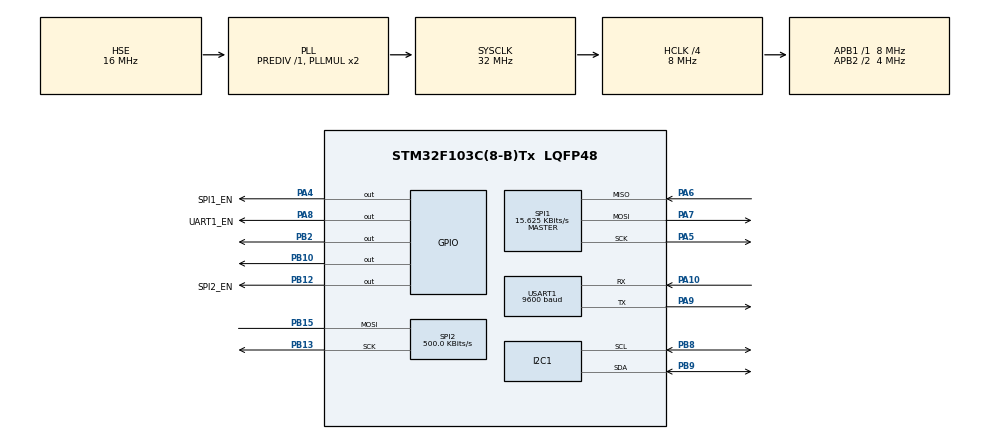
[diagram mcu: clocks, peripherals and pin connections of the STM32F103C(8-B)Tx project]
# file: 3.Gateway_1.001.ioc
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Mcu.Family=STM32F1
Mcu.Name=STM32F103C(8-B)Tx
Mcu.Package=LQFP48
NVIC.PriorityGroup=NVIC_PRIORITYGROUP_4
NVIC.SPI1_IRQn=true\:0\:0\:false\:false\:true\:true\:true\:true
NVIC.SPI2_IRQn=true\:0\:0\:false\:false\:true\:true\:true\:true
NVIC.USART1_IRQn=true\:0\:0\:false\:false\:true\:true\:true\:true
PA10.Mode=Asynchronous
PA10.Signal=USART1_RX
PA13.Mode=Serial_Wire
PA13.Signal=SYS_JTMS-SWDIO
PA14.Mode=Serial_Wire
PA14.Signal=SYS_JTCK-SWCLK
PA4.GPIO_Label=SPI1_EN
PA4.Signal=GPIO_Output
PA5.Mode=Full_Duplex_Master
PA5.Signal=SPI1_SCK
PA6.Mode=Full_Duplex_Master
PA6.Signal=SPI1_MISO
PA7.GPIO_Speed=GPIO_SPEED_FREQ_LOW
PA7.Mode=Full_Duplex_Master
PA7.Signal=SPI1_MOSI
PA8.GPIO_Label=UART1_EN
PA8.Signal=GPIO_Output
PA9.Mode=Asynchronous
PA9.Signal=USART1_TX
PB10.Signal=GPIO_Output
PB12.GPIO_Label=SPI2_EN
PB12.Signal=GPIO_Output
PB13.Mode=Simplex_Bidirectional_Master
PB13.Signal=SPI2_SCK
PB15.Mode=Simplex_Bidirectional_Master
PB15.Signal=SPI2_MOSI
PB2.Signal=GPIO_Output
PB8.Mode=I2C
PB8.Signal=I2C1_SCL
PB9.Mode=I2C
PB9.Signal=I2C1_SDA
PD0-OSC_IN.Mode=HSE-External-Oscillator
PD0-OSC_IN.Signal=RCC_OSC_IN
PD1-OSC_OUT.Mode=HSE-External-Oscillator
PD1-OSC_OUT.Signal=RCC_OSC_OUT
ProjectManager.HeapSize=0x200
ProjectManager.StackSize=0x400
ProjectManager.TargetToolchain=STM32CubeIDE
RCC.AHBCLKDivider=RCC_SYSCLK_DIV4
RCC.AHBFreq_Value=8000000
RCC.APB1Freq_Value=8000000
RCC.APB1TimFreq_Value=8000000
RCC.APB2CLKDivider=RCC_HCLK_DIV2
RCC.APB2Freq_Value=4000000
RCC.APB2TimFreq_Value=8000000
RCC.HCLKFreq_Value=8000000
RCC.HSE_VALUE=16000000
RCC.PLLSourceVirtual=RCC_PLLSOURCE_HSE
RCC.SYSCLKFreq_VALUE=32000000
RCC.SYSCLKSource=RCC_SYSCLKSOURCE_PLLCLK
RCC.USBFreq_Value=32000000
SPI1.BaudRatePrescaler=SPI_BAUDRATEPRESCALER_256
SPI1.CLKPhase=SPI_PHASE_1EDGE
SPI1.CLKPolarity=SPI_POLARITY_LOW
SPI1.CalculateBaudRate=15.625 KBits/s
SPI1.Direction=SPI_DIRECTION_2LINES
SPI1.FirstBit=SPI_FIRSTBIT_MSB
SPI1.Mode=SPI_MODE_MASTER
SPI1.VirtualType=VM_MASTER
SPI2.BaudRatePrescaler=SPI_BAUDRATEPRESCALER_16
SPI2.CLKPhase=SPI_PHASE_2EDGE
SPI2.CalculateBaudRate=500.0 KBits/s
SPI2.Direction=SPI_DIRECTION_1LINE
SPI2.Mode=SPI_MODE_MASTER
SPI2.VirtualType=VM_MASTER
USART1.BaudRate=9600
USART1.VirtualMode=VM_ASYNC
VP_IWDG_VS_IWDG.Mode=IWDG_Activate
board=custom

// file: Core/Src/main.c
/* USER CODE BEGIN Header */
/**
 ******************************************************************************
 * @file           : main.c
 * @brief          : Main program body
 ******************************************************************************
 * @attention
 *
 * Copyright (c) 2026 STMicroelectronics.
 * All rights reserved.
 *
 * This software is licensed under terms that can be found in the LICENSE file
 * in the root directory of this software component.
 * If no LICENSE file comes with this software, it is provided AS-IS.
 *
 ******************************************************************************
 */
/* USER CODE END Header */
#include "main.h"

/* USER CODE BEGIN Includes */
#include "Apli_MultiReadADC.h"
#include "Apli_RS485.h"
#include "Apli_Epprom.h"
#include "Apli_OutputChange10VDC.h"
/* USER CODE END Includes */

/* USER CODE BEGIN PTD */
typedef struct
{
  uint32_t Tick;
  uint32_t Period;
} LoopTask_t;
/* USER CODE END PTD */

/* USER CODE BEGIN PM */
#define USE_MODBUS
#define USE_READADC
#define USE_EPPROM
#define USE_OUTPUTCHANGE10VDC

/* USER CODE END PM */

I2C_HandleTypeDef hi2c1;

IWDG_HandleTypeDef hiwdg;

SPI_HandleTypeDef hspi1;
SPI_HandleTypeDef hspi2;

UART_HandleTypeDef huart1;

void SystemClock_Config(void);
static void MX_GPIO_Init(void);
static void MX_SPI1_Init(void);
static void MX_I2C1_Init(void);
static void MX_IWDG_Init(void);
static void MX_USART1_UART_Init(void);
static void MX_SPI2_Init(void);

/* USER CODE BEGIN 0 */
#ifdef USE_MODBUS

#endif

#ifdef USE_READADC

#endif

/**
 * @brief Cấu trúc dữ liệu để quản lý các tác vụ trong vòng lặp chính (main loop)
 * @param Tick: Thời gian đã trôi qua kể từ lần cuối cùng tác vụ được thực hiện (ms)
 * @param Period: Khoảng thời gian giữa các lần thực hiện tác vụ (ms)
 */
LoopTask_t Task1 = {0, 20};   // 20ms
LoopTask_t Task2 = {0, 20};   // 200ms
LoopTask_t Task3 = {0, 500};  // 500ms
LoopTask_t Task4 = {0, 1000}; // 1s
LoopTask_t Task5 = {0, 5000}; // 5s

/**
 * @brief Hàm được khởi tạo để CHỜ theo tham số thời gian Value đưa vào để thực hiện cái gì đó
 * @param task: Con trỏ đến cấu trúc LoopTask_t chứa thông tin về tác vụ cần thực hiện
 * @return Trả về 1 nếu đã đến thời điểm thực hiện tác vụ, ngược lại trả về 0
 * @note Hàm này sẽ được gọi trong vòng lặp chính (main loop)
 */
uint8_t Loop_Handler(LoopTask_t *task)
{
  uint32_t now = HAL_GetTick();

  if ((now - task->Tick) >= task->Period)
  {
    task->Tick = now;
    return 1;
  }

  return 0;
}
/* USER CODE END 0 */

int main(void)
{

  /* MCU Configuration--------------------------------------------------------*/

  /* Reset of all peripherals, Initializes the Flash interface and the Systick. */
  HAL_Init();

  /* Configure the system clock */
  SystemClock_Config();

  /* Initialize all configured peripherals */
  MX_GPIO_Init();
  MX_SPI1_Init();
  MX_I2C1_Init();
  MX_IWDG_Init();
  MX_USART1_UART_Init();
  MX_SPI2_Init();
  /* USER CODE BEGIN 2 */
#ifdef USE_EPPROM
  Apli_Epprom_Init();
#endif

#ifdef USE_MODBUS
  Apli_Modbus_RS485_Init();
#endif

#ifdef USE_READADC
  Apli_Multi_Read_Init();
#endif

#ifdef USE_OUTPUTCHANGE10VDC
  Apli_OutputChange10VDC_Init();
#endif
  /* USER CODE END 2 */

  /* Infinite loop */
  while (1)
  {

    /* USER CODE BEGIN 3 */
    HAL_IWDG_Refresh(&hiwdg);

#ifdef USE_MODBUS
    Apli_Modbus_RS485_Loop();
#endif

#ifdef USE_READADC
    Apli_Multi_Read_Loop();
#endif

#ifdef USE_OUTPUTCHANGE10VDC
    Apli_OutputChange10VDC_SetValue();
#endif

#ifdef USE_EPPROM
    Apli_Epprom_Loop();
#endif
  }
  /* USER CODE END 3 */
}

void SystemClock_Config(void)
{
  RCC_OscInitTypeDef RCC_OscInitStruct = {0};
  RCC_ClkInitTypeDef RCC_ClkInitStruct = {0};

  /** Initializes the RCC Oscillators according to the specified parameters
   * in the RCC_OscInitTypeDef structure.
   */
  RCC_OscInitStruct.OscillatorType = RCC_OSCILLATORTYPE_LSI | RCC_OSCILLATORTYPE_HSE;
  RCC_OscInitStruct.HSEState = RCC_HSE_ON;
  RCC_OscInitStruct.HSEPredivValue = RCC_HSE_PREDIV_DIV1;
  RCC_OscInitStruct.HSIState = RCC_HSI_ON;
  RCC_OscInitStruct.LSIState = RCC_LSI_ON;
  RCC_OscInitStruct.PLL.PLLState = RCC_PLL_ON;
  RCC_OscInitStruct.PLL.PLLSource = RCC_PLLSOURCE_HSE;
  RCC_OscInitStruct.PLL.PLLMUL = RCC_PLL_MUL2;
  if (HAL_RCC_OscConfig(&RCC_OscInitStruct) != HAL_OK)
  {
    Error_Handler();
  }

  /** Initializes the CPU, AHB and APB buses clocks
   */
  RCC_ClkInitStruct.ClockType = RCC_CLOCKTYPE_HCLK | RCC_CLOCKTYPE_SYSCLK | RCC_CLOCKTYPE_PCLK1 | RCC_CLOCKTYPE_PCLK2;
  RCC_ClkInitStruct.SYSCLKSource = RCC_SYSCLKSOURCE_PLLCLK;
  RCC_ClkInitStruct.AHBCLKDivider = RCC_SYSCLK_DIV4;
  RCC_ClkInitStruct.APB1CLKDivider = RCC_HCLK_DIV1;
  RCC_ClkInitStruct.APB2CLKDivider = RCC_HCLK_DIV2;

  if (HAL_RCC_ClockConfig(&RCC_ClkInitStruct, FLASH_LATENCY_1) != HAL_OK)
  {
    Error_Handler();
  }
}

static void MX_I2C1_Init(void)
{

  hi2c1.Instance = I2C1;
  hi2c1.Init.ClockSpeed = 100000;
  hi2c1.Init.DutyCycle = I2C_DUTYCYCLE_2;
  hi2c1.Init.OwnAddress1 = 0;
  hi2c1.Init.AddressingMode = I2C_ADDRESSINGMODE_7BIT;
  hi2c1.Init.DualAddressMode = I2C_DUALADDRESS_DISABLE;
  hi2c1.Init.OwnAddress2 = 0;
  hi2c1.Init.GeneralCallMode = I2C_GENERALCALL_DISABLE;
  hi2c1.Init.NoStretchMode = I2C_NOSTRETCH_DISABLE;
  if (HAL_I2C_Init(&hi2c1) != HAL_OK)
  {
    Error_Handler();
  }
}

static void MX_IWDG_Init(void)
{

  hiwdg.Instance = IWDG;
  hiwdg.Init.Prescaler = IWDG_PRESCALER_4;
  hiwdg.Init.Reload = 4095;
  if (HAL_IWDG_Init(&hiwdg) != HAL_OK)
  {
    Error_Handler();
  }
}

static void MX_SPI1_Init(void)
{

  /* SPI1 parameter configuration*/
  hspi1.Instance = SPI1;
  hspi1.Init.Mode = SPI_MODE_MASTER;
  hspi1.Init.Direction = SPI_DIRECTION_2LINES;
  hspi1.Init.DataSize = SPI_DATASIZE_8BIT;
  hspi1.Init.CLKPolarity = SPI_POLARITY_LOW;
  hspi1.Init.CLKPhase = SPI_PHASE_1EDGE;
  hspi1.Init.NSS = SPI_NSS_SOFT;
  hspi1.Init.BaudRatePrescaler = SPI_BAUDRATEPRESCALER_256;
  hspi1.Init.FirstBit = SPI_FIRSTBIT_MSB;
  hspi1.Init.TIMode = SPI_TIMODE_DISABLE;
  hspi1.Init.CRCCalculation = SPI_CRCCALCULATION_DISABLE;
  hspi1.Init.CRCPolynomial = 10;
  if (HAL_SPI_Init(&hspi1) != HAL_OK)
  {
    Error_Handler();
  }
}

static void MX_SPI2_Init(void)
{

  /* SPI2 parameter configuration*/
  hspi2.Instance = SPI2;
  hspi2.Init.Mode = SPI_MODE_MASTER;
  hspi2.Init.Direction = SPI_DIRECTION_1LINE;
  hspi2.Init.DataSize = SPI_DATASIZE_8BIT;
  hspi2.Init.CLKPolarity = SPI_POLARITY_LOW;
  hspi2.Init.CLKPhase = SPI_PHASE_2EDGE;
  hspi2.Init.NSS = SPI_NSS_SOFT;
  hspi2.Init.BaudRatePrescaler = SPI_BAUDRATEPRESCALER_16;
  hspi2.Init.FirstBit = SPI_FIRSTBIT_MSB;
  hspi2.Init.TIMode = SPI_TIMODE_DISABLE;
  hspi2.Init.CRCCalculation = SPI_CRCCALCULATION_DISABLE;
  hspi2.Init.CRCPolynomial = 10;
  if (HAL_SPI_Init(&hspi2) != HAL_OK)
  {
    Error_Handler();
  }
}

static void MX_USART1_UART_Init(void)
{

  huart1.Instance = USART1;
  huart1.Init.BaudRate = 9600;
  huart1.Init.WordLength = UART_WORDLENGTH_8B;
  huart1.Init.StopBits = UART_STOPBITS_1;
  huart1.Init.Parity = UART_PARITY_NONE;
  huart1.Init.Mode = UART_MODE_TX_RX;
  huart1.Init.HwFlowCtl = UART_HWCONTROL_NONE;
  huart1.Init.OverSampling = UART_OVERSAMPLING_16;
  if (HAL_UART_Init(&huart1) != HAL_OK)
  {
    Error_Handler();
  }
}

static void MX_GPIO_Init(void)
{
  GPIO_InitTypeDef GPIO_InitStruct = {0};

  /* GPIO Ports Clock Enable */
  __HAL_RCC_GPIOD_CLK_ENABLE();
  __HAL_RCC_GPIOA_CLK_ENABLE();
  __HAL_RCC_GPIOB_CLK_ENABLE();

  /*Configure GPIO pin Output Level */
  HAL_GPIO_WritePin(GPIOA, SPI1_EN_Pin | UART1_EN_Pin, GPIO_PIN_RESET);

  /*Configure GPIO pin Output Level */
  HAL_GPIO_WritePin(GPIOB, GPIO_PIN_2 | GPIO_PIN_10 | SPI2_EN_Pin, GPIO_PIN_RESET);

  /*Configure GPIO pins : SPI1_EN_Pin UART1_EN_Pin */
  GPIO_InitStruct.Pin = SPI1_EN_Pin | UART1_EN_Pin;
  GPIO_InitStruct.Mode = GPIO_MODE_OUTPUT_PP;
  GPIO_InitStruct.Pull = GPIO_NOPULL;
  GPIO_InitStruct.Speed = GPIO_SPEED_FREQ_LOW;
  HAL_GPIO_Init(GPIOA, &GPIO_InitStruct);

  /*Configure GPIO pins : PB2 PB10 SPI2_EN_Pin */
  GPIO_InitStruct.Pin = GPIO_PIN_2 | GPIO_PIN_10 | SPI2_EN_Pin;
  GPIO_InitStruct.Mode = GPIO_MODE_OUTPUT_PP;
  GPIO_InitStruct.Pull = GPIO_NOPULL;
  GPIO_InitStruct.Speed = GPIO_SPEED_FREQ_LOW;
  HAL_GPIO_Init(GPIOB, &GPIO_InitStruct);

}

void Error_Handler(void)
{
  __disable_irq();
  while (1)
  {
  }
}
